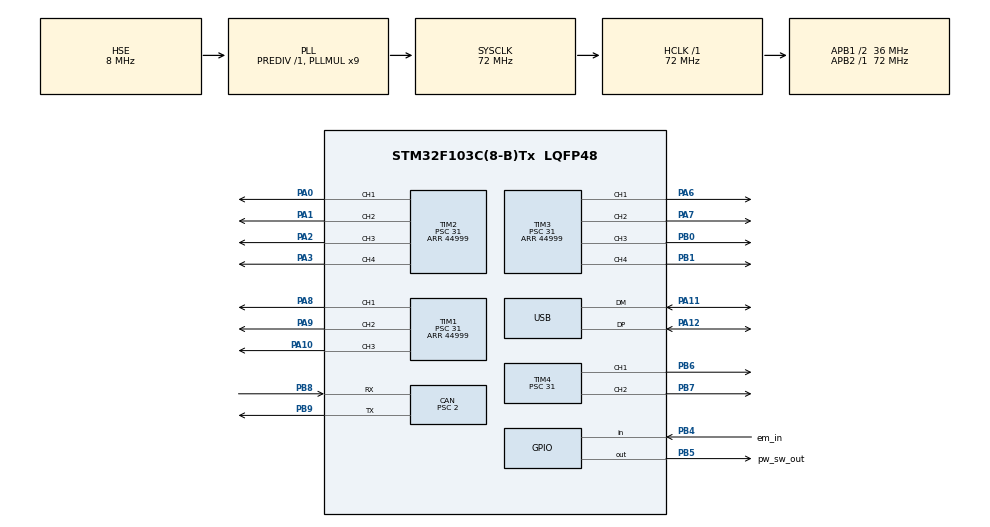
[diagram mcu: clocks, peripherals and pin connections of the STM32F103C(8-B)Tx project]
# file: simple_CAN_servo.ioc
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CAN.BS1=CAN_BS1_14TQ
CAN.BS2=CAN_BS2_3TQ
CAN.CalculateBaudRate=1000000
CAN.CalculateTimeBit=1000
CAN.CalculateTimeQuantum=55.55555555555556
CAN.Prescaler=2
Mcu.Family=STM32F1
Mcu.Name=STM32F103C(8-B)Tx
Mcu.Package=LQFP48
NVIC.PriorityGroup=NVIC_PRIORITYGROUP_4
PA0-WKUP.Signal=S_TIM2_CH1_ETR
PA1.Signal=S_TIM2_CH2
PA10.Signal=S_TIM1_CH3
PA11.Mode=Device
PA11.Signal=USB_DM
PA12.Mode=Device
PA12.Signal=USB_DP
PA13.Mode=Serial_Wire
PA13.Signal=SYS_JTMS-SWDIO
PA14.Mode=Serial_Wire
PA14.Signal=SYS_JTCK-SWCLK
PA2.Signal=S_TIM2_CH3
PA3.Signal=S_TIM2_CH4
PA6.Signal=S_TIM3_CH1
PA7.Signal=S_TIM3_CH2
PA8.Signal=S_TIM1_CH1
PA9.Signal=S_TIM1_CH2
PB0.Signal=S_TIM3_CH3
PB1.Signal=S_TIM3_CH4
PB4.GPIO_Label=em_in
PB4.GPIO_PuPd=GPIO_PULLDOWN
PB4.Signal=GPIO_Input
PB5.GPIO_Label=pw_sw_out
PB5.Signal=GPIO_Output
PB6.Signal=S_TIM4_CH1
PB7.Signal=S_TIM4_CH2
PB8.Mode=CAN_Activate
PB8.Signal=CAN_RX
PB9.Mode=CAN_Activate
PB9.Signal=CAN_TX
PC14-OSC32_IN.Mode=LSE-External-Oscillator
PC14-OSC32_IN.Signal=RCC_OSC32_IN
PC15-OSC32_OUT.Mode=LSE-External-Oscillator
PC15-OSC32_OUT.Signal=RCC_OSC32_OUT
PD0-OSC_IN.Mode=HSE-External-Oscillator
PD0-OSC_IN.Signal=RCC_OSC_IN
PD1-OSC_OUT.Mode=HSE-External-Oscillator
PD1-OSC_OUT.Signal=RCC_OSC_OUT
ProjectManager.HeapSize=0x200
ProjectManager.StackSize=0x400
ProjectManager.TargetToolchain=STM32CubeIDE
RCC.AHBFreq_Value=72000000
RCC.APB1CLKDivider=RCC_HCLK_DIV2
RCC.APB1Freq_Value=36000000
RCC.APB1TimFreq_Value=72000000
RCC.APB2Freq_Value=72000000
RCC.APB2TimFreq_Value=72000000
RCC.HCLKFreq_Value=72000000
RCC.PLLMUL=RCC_PLL_MUL9
RCC.PLLSourceVirtual=RCC_PLLSOURCE_HSE
RCC.SYSCLKFreq_VALUE=72000000
RCC.SYSCLKSource=RCC_SYSCLKSOURCE_PLLCLK
RCC.USBFreq_Value=48000000
RCC.USBPrescaler=RCC_USBCLKSOURCE_PLL_DIV1_5
SH.S_TIM1_CH1.0=TIM1_CH1,PWM Generation1 CH1
SH.S_TIM1_CH2.0=TIM1_CH2,PWM Generation2 CH2
SH.S_TIM1_CH3.0=TIM1_CH3,PWM Generation3 CH3
SH.S_TIM2_CH1_ETR.0=TIM2_CH1,PWM Generation1 CH1
SH.S_TIM2_CH2.0=TIM2_CH2,PWM Generation2 CH2
SH.S_TIM2_CH3.0=TIM2_CH3,PWM Generation3 CH3
SH.S_TIM2_CH4.0=TIM2_CH4,PWM Generation4 CH4
SH.S_TIM3_CH1.0=TIM3_CH1,PWM Generation1 CH1
SH.S_TIM3_CH2.0=TIM3_CH2,PWM Generation2 CH2
SH.S_TIM3_CH3.0=TIM3_CH3,PWM Generation3 CH3
SH.S_TIM3_CH4.0=TIM3_CH4,PWM Generation4 CH4
SH.S_TIM4_CH1.0=TIM4_CH1,PWM Generation1 CH1
SH.S_TIM4_CH2.0=TIM4_CH2,PWM Generation2 CH2
TIM1.Channel-PWM\ Generation1\ CH1=TIM_CHANNEL_1
TIM1.Channel-PWM\ Generation2\ CH2=TIM_CHANNEL_2
TIM1.Channel-PWM\ Generation3\ CH3=TIM_CHANNEL_3
TIM1.Period=44999
TIM1.Prescaler=31
TIM2.Channel-PWM\ Generation1\ CH1=TIM_CHANNEL_1
TIM2.Channel-PWM\ Generation2\ CH2=TIM_CHANNEL_2
TIM2.Channel-PWM\ Generation3\ CH3=TIM_CHANNEL_3
TIM2.Channel-PWM\ Generation4\ CH4=TIM_CHANNEL_4
TIM2.Period=44999
TIM2.Prescaler=31
TIM3.Channel-PWM\ Generation1\ CH1=TIM_CHANNEL_1
TIM3.Channel-PWM\ Generation2\ CH2=TIM_CHANNEL_2
TIM3.Channel-PWM\ Generation3\ CH3=TIM_CHANNEL_3
TIM3.Channel-PWM\ Generation4\ CH4=TIM_CHANNEL_4
TIM3.Period=44999
TIM3.Prescaler=31
TIM4.Channel-PWM\ Generation1\ CH1=TIM_CHANNEL_1
TIM4.Channel-PWM\ Generation2\ CH2=TIM_CHANNEL_2
TIM4.Period=44999
TIM4.Prescaler=31
board=custom

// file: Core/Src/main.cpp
/* USER CODE BEGIN Header */
/**
  ******************************************************************************
  * @file           : main.c
  * @brief          : Main program body
  ******************************************************************************
  * @attention
  *
  * Copyright (c) 2022 STMicroelectronics.
  * All rights reserved.
  *
  * This software is licensed under terms that can be found in the LICENSE file
  * in the root directory of this software component.
  * If no LICENSE file comes with this software, it is provided AS-IS.
  *
  ******************************************************************************
  */
/* USER CODE END Header */
#include "main.h"

/* USER CODE BEGIN Includes */
#include "CAN103xb.h"

/* USER CODE END Includes */

CAN_HandleTypeDef hcan;

TIM_HandleTypeDef htim1;
TIM_HandleTypeDef htim2;
TIM_HandleTypeDef htim3;
TIM_HandleTypeDef htim4;

PCD_HandleTypeDef hpcd_USB_FS;

void SystemClock_Config(void);
static void MX_GPIO_Init(void);
static void MX_TIM1_Init(void);
static void MX_CAN_Init(void);
static void MX_TIM2_Init(void);
static void MX_TIM3_Init(void);
static void MX_TIM4_Init(void);
static void MX_USB_PCD_Init(void);

int main(void)
{

  /* MCU Configuration--------------------------------------------------------*/

  /* Reset of all peripherals, Initializes the Flash interface and the Systick. */
  HAL_Init();

  /* Configure the system clock */
  SystemClock_Config();

  /* Initialize all configured peripherals */
  MX_GPIO_Init();
  MX_TIM1_Init();
  MX_CAN_Init();
  MX_TIM2_Init();
  MX_TIM3_Init();
  MX_TIM4_Init();
  MX_USB_PCD_Init();
  /* USER CODE BEGIN 2 */
  stm_CAN::CAN_103xb can(&hcan);
  constexpr uint32_t can_id[] = {0x0f};
  can.subscribe_message(can_id[0], stm_CAN::ID_type::std, stm_CAN::Frame_type::data, stm_CAN::FIFO::_0);

  struct{
    GPIO_PinState now;
    GPIO_PinState prev;
  } em_state = {GPIO_PIN_SET, GPIO_PIN_RESET};

  constexpr int servo_num = 13;
  struct servo_table{
	  TIM_HandleTypeDef* htim;
	  uint32_t channel;
	  uint16_t output = 0;
  } servoes[] = {
		  {&htim1, TIM_CHANNEL_1},
		  {&htim1, TIM_CHANNEL_2},
		  {&htim1, TIM_CHANNEL_3},
		  {&htim2, TIM_CHANNEL_1},
		  {&htim2, TIM_CHANNEL_2},
		  {&htim2, TIM_CHANNEL_3},
		  {&htim2, TIM_CHANNEL_4},
		  {&htim3, TIM_CHANNEL_1},
		  {&htim3, TIM_CHANNEL_2},
		  {&htim3, TIM_CHANNEL_3},
		  {&htim3, TIM_CHANNEL_4},
		  {&htim4, TIM_CHANNEL_1},
		  {&htim4, TIM_CHANNEL_2}
  };
  auto write_servo = [](struct servo_table* servo, uint8_t output){
	  servo->output = 1125 + (int)(4275.0 / 255.0 * output);
	  __HAL_TIM_SetCompare(servo->htim, servo->channel, servo->output);
  };
  auto set_power = [&](bool state){
	  if(state){
		  HAL_GPIO_WritePin(pw_sw_out_GPIO_Port, pw_sw_out_Pin, GPIO_PIN_SET);
		  for(auto &i : servoes){
			  __HAL_TIM_SET_COMPARE(i.htim, i.channel, i.output);
		  }
	  }else{
		  HAL_GPIO_WritePin(pw_sw_out_GPIO_Port, pw_sw_out_Pin, GPIO_PIN_RESET);
		  for(auto &i : servoes){
			  __HAL_TIM_SetCompare(i.htim, i.channel, 45000);
		  }
	  }
  };

  for(auto &i : servoes){
	  HAL_TIM_PWM_Start(i.htim, i.channel);
  }
  set_power(1);

  /* USER CODE END 2 */

  /* Infinite loop */
  /* USER CODE BEGIN WHILE */
  while (1)
  {
    em_state.now = HAL_GPIO_ReadPin(em_in_GPIO_Port, em_in_Pin);

    if(em_state.now == GPIO_PIN_RESET){
      if(em_state.prev == GPIO_PIN_SET)set_power(1);
      uint8_t data[8];
      CAN_RxHeaderTypeDef header;
      if(can.read(stm_CAN::FIFO::_0, data, &header) && HAL_GPIO_ReadPin(em_in_GPIO_Port, em_in_Pin) == 0){
        for (int i = 0; i < 8; i++){
          write_servo(&servoes[i], data[i]);
        }
      }
//      for(servo_table &i : servoes){
//        write_servo(&i, 255);
//      }
    }else if(em_state.now == GPIO_PIN_SET){
      set_power(0);
      uint8_t data[8];
      can.read(stm_CAN::FIFO::_0, data);
    }
    em_state.prev = em_state.now;

    /* USER CODE END WHILE */

  }
}

void SystemClock_Config(void)
{
  RCC_OscInitTypeDef RCC_OscInitStruct = {0};
  RCC_ClkInitTypeDef RCC_ClkInitStruct = {0};
  RCC_PeriphCLKInitTypeDef PeriphClkInit = {0};

  /** Initializes the RCC Oscillators according to the specified parameters
  * in the RCC_OscInitTypeDef structure.
  */
  RCC_OscInitStruct.OscillatorType = RCC_OSCILLATORTYPE_HSE;
  RCC_OscInitStruct.HSEState = RCC_HSE_ON;
  RCC_OscInitStruct.HSEPredivValue = RCC_HSE_PREDIV_DIV1;
  RCC_OscInitStruct.HSIState = RCC_HSI_ON;
  RCC_OscInitStruct.PLL.PLLState = RCC_PLL_ON;
  RCC_OscInitStruct.PLL.PLLSource = RCC_PLLSOURCE_HSE;
  RCC_OscInitStruct.PLL.PLLMUL = RCC_PLL_MUL9;
  if (HAL_RCC_OscConfig(&RCC_OscInitStruct) != HAL_OK)
  {
    Error_Handler();
  }

  /** Initializes the CPU, AHB and APB buses clocks
  */
  RCC_ClkInitStruct.ClockType = RCC_CLOCKTYPE_HCLK|RCC_CLOCKTYPE_SYSCLK
                              |RCC_CLOCKTYPE_PCLK1|RCC_CLOCKTYPE_PCLK2;
  RCC_ClkInitStruct.SYSCLKSource = RCC_SYSCLKSOURCE_PLLCLK;
  RCC_ClkInitStruct.AHBCLKDivider = RCC_SYSCLK_DIV1;
  RCC_ClkInitStruct.APB1CLKDivider = RCC_HCLK_DIV2;
  RCC_ClkInitStruct.APB2CLKDivider = RCC_HCLK_DIV1;

  if (HAL_RCC_ClockConfig(&RCC_ClkInitStruct, FLASH_LATENCY_2) != HAL_OK)
  {
    Error_Handler();
  }
  PeriphClkInit.PeriphClockSelection = RCC_PERIPHCLK_USB;
  PeriphClkInit.UsbClockSelection = RCC_USBCLKSOURCE_PLL_DIV1_5;
  if (HAL_RCCEx_PeriphCLKConfig(&PeriphClkInit) != HAL_OK)
  {
    Error_Handler();
  }
}

static void MX_CAN_Init(void)
{

  hcan.Instance = CAN1;
  hcan.Init.Prescaler = 2;
  hcan.Init.Mode = CAN_MODE_NORMAL;
  hcan.Init.SyncJumpWidth = CAN_SJW_1TQ;
  hcan.Init.TimeSeg1 = CAN_BS1_14TQ;
  hcan.Init.TimeSeg2 = CAN_BS2_3TQ;
  hcan.Init.TimeTriggeredMode = DISABLE;
  hcan.Init.AutoBusOff = DISABLE;
  hcan.Init.AutoWakeUp = DISABLE;
  hcan.Init.AutoRetransmission = DISABLE;
  hcan.Init.ReceiveFifoLocked = DISABLE;
  hcan.Init.TransmitFifoPriority = DISABLE;
  if (HAL_CAN_Init(&hcan) != HAL_OK)
  {
    Error_Handler();
  }

}

static void MX_TIM1_Init(void)
{

  TIM_MasterConfigTypeDef sMasterConfig = {0};
  TIM_OC_InitTypeDef sConfigOC = {0};
  TIM_BreakDeadTimeConfigTypeDef sBreakDeadTimeConfig = {0};

  htim1.Instance = TIM1;
  htim1.Init.Prescaler = 31;
  htim1.Init.CounterMode = TIM_COUNTERMODE_UP;
  htim1.Init.Period = 44999;
  htim1.Init.ClockDivision = TIM_CLOCKDIVISION_DIV1;
  htim1.Init.RepetitionCounter = 0;
  htim1.Init.AutoReloadPreload = TIM_AUTORELOAD_PRELOAD_DISABLE;
  if (HAL_TIM_PWM_Init(&htim1) != HAL_OK)
  {
    Error_Handler();
  }
  sMasterConfig.MasterOutputTrigger = TIM_TRGO_RESET;
  sMasterConfig.MasterSlaveMode = TIM_MASTERSLAVEMODE_DISABLE;
  if (HAL_TIMEx_MasterConfigSynchronization(&htim1, &sMasterConfig) != HAL_OK)
  {
    Error_Handler();
  }
  sConfigOC.OCMode = TIM_OCMODE_PWM1;
  sConfigOC.Pulse = 0;
  sConfigOC.OCPolarity = TIM_OCPOLARITY_HIGH;
  sConfigOC.OCNPolarity = TIM_OCNPOLARITY_HIGH;
  sConfigOC.OCFastMode = TIM_OCFAST_DISABLE;
  sConfigOC.OCIdleState = TIM_OCIDLESTATE_RESET;
  sConfigOC.OCNIdleState = TIM_OCNIDLESTATE_RESET;
  if (HAL_TIM_PWM_ConfigChannel(&htim1, &sConfigOC, TIM_CHANNEL_1) != HAL_OK)
  {
    Error_Handler();
  }
  if (HAL_TIM_PWM_ConfigChannel(&htim1, &sConfigOC, TIM_CHANNEL_2) != HAL_OK)
  {
    Error_Handler();
  }
  if (HAL_TIM_PWM_ConfigChannel(&htim1, &sConfigOC, TIM_CHANNEL_3) != HAL_OK)
  {
    Error_Handler();
  }
  sBreakDeadTimeConfig.OffStateRunMode = TIM_OSSR_DISABLE;
  sBreakDeadTimeConfig.OffStateIDLEMode = TIM_OSSI_DISABLE;
  sBreakDeadTimeConfig.LockLevel = TIM_LOCKLEVEL_OFF;
  sBreakDeadTimeConfig.DeadTime = 0;
  sBreakDeadTimeConfig.BreakState = TIM_BREAK_DISABLE;
  sBreakDeadTimeConfig.BreakPolarity = TIM_BREAKPOLARITY_HIGH;
  sBreakDeadTimeConfig.AutomaticOutput = TIM_AUTOMATICOUTPUT_DISABLE;
  if (HAL_TIMEx_ConfigBreakDeadTime(&htim1, &sBreakDeadTimeConfig) != HAL_OK)
  {
    Error_Handler();
  }
  HAL_TIM_MspPostInit(&htim1);

}

static void MX_TIM2_Init(void)
{

  TIM_MasterConfigTypeDef sMasterConfig = {0};
  TIM_OC_InitTypeDef sConfigOC = {0};

  htim2.Instance = TIM2;
  htim2.Init.Prescaler = 31;
  htim2.Init.CounterMode = TIM_COUNTERMODE_UP;
  htim2.Init.Period = 44999;
  htim2.Init.ClockDivision = TIM_CLOCKDIVISION_DIV1;
  htim2.Init.AutoReloadPreload = TIM_AUTORELOAD_PRELOAD_DISABLE;
  if (HAL_TIM_PWM_Init(&htim2) != HAL_OK)
  {
    Error_Handler();
  }
  sMasterConfig.MasterOutputTrigger = TIM_TRGO_RESET;
  sMasterConfig.MasterSlaveMode = TIM_MASTERSLAVEMODE_DISABLE;
  if (HAL_TIMEx_MasterConfigSynchronization(&htim2, &sMasterConfig) != HAL_OK)
  {
    Error_Handler();
  }
  sConfigOC.OCMode = TIM_OCMODE_PWM1;
  sConfigOC.Pulse = 0;
  sConfigOC.OCPolarity = TIM_OCPOLARITY_HIGH;
  sConfigOC.OCFastMode = TIM_OCFAST_DISABLE;
  if (HAL_TIM_PWM_ConfigChannel(&htim2, &sConfigOC, TIM_CHANNEL_1) != HAL_OK)
  {
    Error_Handler();
  }
  if (HAL_TIM_PWM_ConfigChannel(&htim2, &sConfigOC, TIM_CHANNEL_2) != HAL_OK)
  {
    Error_Handler();
  }
  if (HAL_TIM_PWM_ConfigChannel(&htim2, &sConfigOC, TIM_CHANNEL_3) != HAL_OK)
  {
    Error_Handler();
  }
  if (HAL_TIM_PWM_ConfigChannel(&htim2, &sConfigOC, TIM_CHANNEL_4) != HAL_OK)
  {
    Error_Handler();
  }
  HAL_TIM_MspPostInit(&htim2);

}

static void MX_TIM3_Init(void)
{

  TIM_MasterConfigTypeDef sMasterConfig = {0};
  TIM_OC_InitTypeDef sConfigOC = {0};

  htim3.Instance = TIM3;
  htim3.Init.Prescaler = 31;
  htim3.Init.CounterMode = TIM_COUNTERMODE_UP;
  htim3.Init.Period = 44999;
  htim3.Init.ClockDivision = TIM_CLOCKDIVISION_DIV1;
  htim3.Init.AutoReloadPreload = TIM_AUTORELOAD_PRELOAD_DISABLE;
  if (HAL_TIM_PWM_Init(&htim3) != HAL_OK)
  {
    Error_Handler();
  }
  sMasterConfig.MasterOutputTrigger = TIM_TRGO_RESET;
  sMasterConfig.MasterSlaveMode = TIM_MASTERSLAVEMODE_DISABLE;
  if (HAL_TIMEx_MasterConfigSynchronization(&htim3, &sMasterConfig) != HAL_OK)
  {
    Error_Handler();
  }
  sConfigOC.OCMode = TIM_OCMODE_PWM1;
  sConfigOC.Pulse = 0;
  sConfigOC.OCPolarity = TIM_OCPOLARITY_HIGH;
  sConfigOC.OCFastMode = TIM_OCFAST_DISABLE;
  if (HAL_TIM_PWM_ConfigChannel(&htim3, &sConfigOC, TIM_CHANNEL_1) != HAL_OK)
  {
    Error_Handler();
  }
  if (HAL_TIM_PWM_ConfigChannel(&htim3, &sConfigOC, TIM_CHANNEL_2) != HAL_OK)
  {
    Error_Handler();
  }
  if (HAL_TIM_PWM_ConfigChannel(&htim3, &sConfigOC, TIM_CHANNEL_3) != HAL_OK)
  {
    Error_Handler();
  }
  if (HAL_TIM_PWM_ConfigChannel(&htim3, &sConfigOC, TIM_CHANNEL_4) != HAL_OK)
  {
    Error_Handler();
  }
  HAL_TIM_MspPostInit(&htim3);

}

static void MX_TIM4_Init(void)
{

  TIM_MasterConfigTypeDef sMasterConfig = {0};
  TIM_OC_InitTypeDef sConfigOC = {0};

  htim4.Instance = TIM4;
  htim4.Init.Prescaler = 31;
  htim4.Init.CounterMode = TIM_COUNTERMODE_UP;
  htim4.Init.Period = 44999;
  htim4.Init.ClockDivision = TIM_CLOCKDIVISION_DIV1;
  htim4.Init.AutoReloadPreload = TIM_AUTORELOAD_PRELOAD_DISABLE;
  if (HAL_TIM_PWM_Init(&htim4) != HAL_OK)
  {
    Error_Handler();
  }
  sMasterConfig.MasterOutputTrigger = TIM_TRGO_RESET;
  sMasterConfig.MasterSlaveMode = TIM_MASTERSLAVEMODE_DISABLE;
  if (HAL_TIMEx_MasterConfigSynchronization(&htim4, &sMasterConfig) != HAL_OK)
  {
    Error_Handler();
  }
  sConfigOC.OCMode = TIM_OCMODE_PWM1;
  sConfigOC.Pulse = 0;
  sConfigOC.OCPolarity = TIM_OCPOLARITY_HIGH;
  sConfigOC.OCFastMode = TIM_OCFAST_DISABLE;
  if (HAL_TIM_PWM_ConfigChannel(&htim4, &sConfigOC, TIM_CHANNEL_1) != HAL_OK)
  {
    Error_Handler();
  }
  if (HAL_TIM_PWM_ConfigChannel(&htim4, &sConfigOC, TIM_CHANNEL_2) != HAL_OK)
  {
    Error_Handler();
  }
  HAL_TIM_MspPostInit(&htim4);

}

static void MX_USB_PCD_Init(void)
{

  hpcd_USB_FS.Instance = USB;
  hpcd_USB_FS.Init.dev_endpoints = 8;
  hpcd_USB_FS.Init.speed = PCD_SPEED_FULL;
  hpcd_USB_FS.Init.low_power_enable = DISABLE;
  hpcd_USB_FS.Init.lpm_enable = DISABLE;
  hpcd_USB_FS.Init.battery_charging_enable = DISABLE;
  if (HAL_PCD_Init(&hpcd_USB_FS) != HAL_OK)
  {
    Error_Handler();
  }

}

static void MX_GPIO_Init(void)
{
  GPIO_InitTypeDef GPIO_InitStruct = {0};

  /* GPIO Ports Clock Enable */
  __HAL_RCC_GPIOC_CLK_ENABLE();
  __HAL_RCC_GPIOD_CLK_ENABLE();
  __HAL_RCC_GPIOA_CLK_ENABLE();
  __HAL_RCC_GPIOB_CLK_ENABLE();

  /*Configure GPIO pin Output Level */
  HAL_GPIO_WritePin(pw_sw_out_GPIO_Port, pw_sw_out_Pin, GPIO_PIN_RESET);

  /*Configure GPIO pin : em_in_Pin */
  GPIO_InitStruct.Pin = em_in_Pin;
  GPIO_InitStruct.Mode = GPIO_MODE_INPUT;
  GPIO_InitStruct.Pull = GPIO_PULLDOWN;
  HAL_GPIO_Init(em_in_GPIO_Port, &GPIO_InitStruct);

  /*Configure GPIO pin : pw_sw_out_Pin */
  GPIO_InitStruct.Pin = pw_sw_out_Pin;
  GPIO_InitStruct.Mode = GPIO_MODE_OUTPUT_PP;
  GPIO_InitStruct.Pull = GPIO_NOPULL;
  GPIO_InitStruct.Speed = GPIO_SPEED_FREQ_LOW;
  HAL_GPIO_Init(pw_sw_out_GPIO_Port, &GPIO_InitStruct);

}

void Error_Handler(void)
{
  __disable_irq();
  while (1)
  {
  }
}
